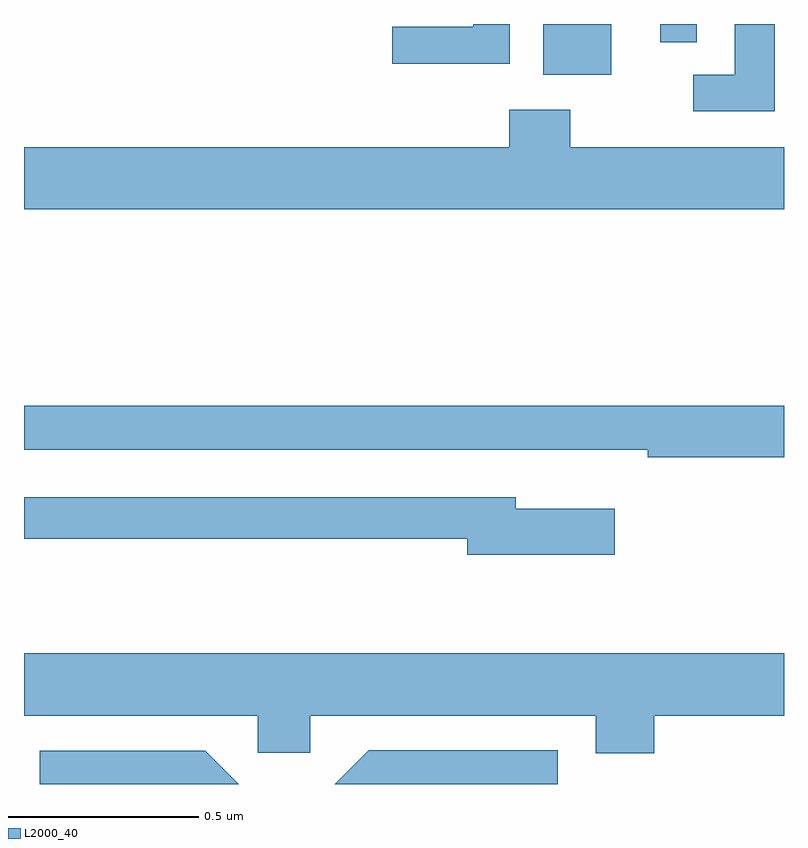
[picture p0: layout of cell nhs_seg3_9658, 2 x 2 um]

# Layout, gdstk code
import gdstk
lib = gdstk.Library(unit=1e-6, precision=1e-09)
def R(c, l, rs):  # rectangles x0, y0, x1, y1
    for r in rs: c.add(gdstk.rectangle(r[:2], r[2:], *l))
def P(c, l, *ps):  # polygons
    for p in ps: c.add(gdstk.Polygon(p, *l))
L2000_40 = (2000, 40)

nhs_seg3_9658 = lib.new_cell('nhs_seg3_9658')
R(nhs_seg3_9658, L2000_40, [(232.367,705.266,232.546,705.4), (232.674,705.352,232.77,705.4)])
P(nhs_seg3_9658, L2000_40, [(232.975,705.4),(232.871,705.4),(232.871,705.267),(232.761,705.267),(232.761,705.171),(232.975,705.171)],
  [(232.278,705.4),(232.182,705.4),(232.182,705.393),(231.969,705.393),(231.969,705.295),(232.278,705.295)],
  [(233,705.076),(232.437,705.076),(232.437,705.175),(232.277,705.175),(232.277,705.076),(231,705.076),(231,704.912),(233,704.912)],
  [(233,704.396),(231,704.396),(231,704.28),(232.39,704.28),(232.39,704.279),(232.642,704.279),(232.642,704.26),(233,704.26)],
  [(232.555,704.125),(232.294,704.125),(232.294,704.154),(231,704.154),(231,704.046),(232.166,704.046),(232.166,704.003),(232.555,704.003)],
  [(232.658,703.58),(233,703.58),(233,703.744),(231,703.744),(231,703.58),(231.615,703.58),(231.615,703.482),(231.753,703.482),(231.753,703.58),(232.505,703.58),(232.505,703.481),(232.658,703.481)],
  [(232.404,703.489),(231.907,703.489),(231.818,703.4),(232.404,703.4)],
  [(231.477,703.488),(231.042,703.488),(231.042,703.4),(231.565,703.4)])

lib.write_gds('nhs_seg3_9658.gds')
